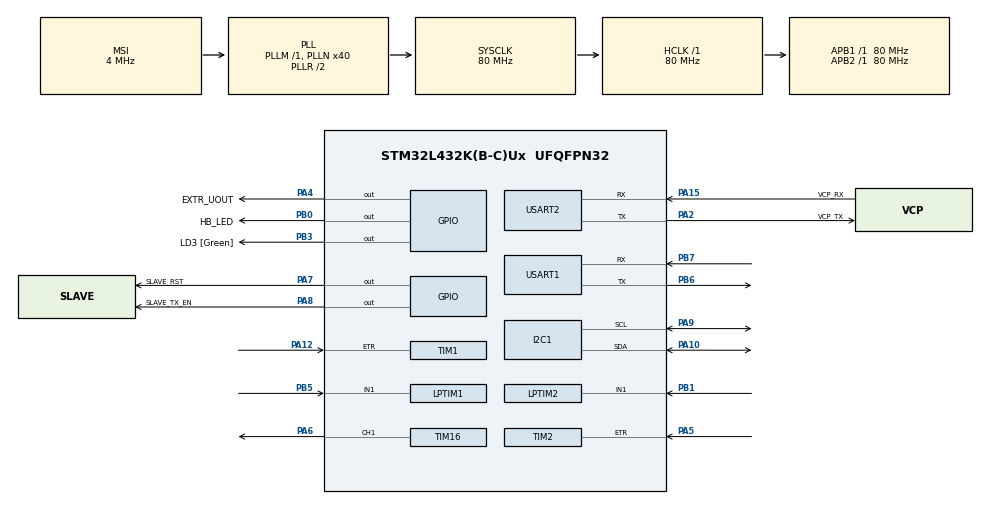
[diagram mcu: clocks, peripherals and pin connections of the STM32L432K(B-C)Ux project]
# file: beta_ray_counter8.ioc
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Mcu.Family=STM32L4
TIM15.AutoReloadPreload=TIM_AUTORELOAD_PRELOAD_ENABLE
RCC.CortexFreq_Value=80000000
NVIC.DMA1_Channel5_IRQn=true\:0\:0\:false\:false\:true\:false\:true
NVIC.I2C1_EV_IRQn=true\:0\:0\:false\:false\:true\:true\:true
Dma.USART1_TX.1.MemInc=DMA_MINC_ENABLE
SH.S_TIM1_ETR.0=TIM1_ETR,ClockSourceETR_Mode2
VP_IWDG_VS_IWDG.Mode=IWDG_Activate
TIM15.ClockDivision=TIM_CLOCKDIVISION_DIV4
PA0.GPIO_Label=MCO [High speed clock in]
Dma.I2C1_TX.3.PeriphInc=DMA_PINC_DISABLE
PB0.GPIO_Label=HB_LED
PA15\ (JTDI).Signal=USART2_RX
Dma.I2C1_TX.3.Priority=DMA_PRIORITY_LOW
RCC.SYSCLKSource=RCC_SYSCLKSOURCE_PLLCLK
ProjectManager.StackSize=0x400
PB3\ (JTDO-TRACESWO).Signal=GPIO_Output
PA14\ (JTCK-SWCLK).Signal=SYS_JTCK-SWCLK
Dma.USART2_TX.2.PeriphDataAlignment=DMA_PDATAALIGN_BYTE
PA15\ (JTDI).Mode=Asynchronous
PA12.Signal=S_TIM1_ETR
TIM15.Prescaler=20-1
RCC.HCLKFreq_Value=80000000
RCC.APB2TimFreq_Value=80000000
PB6.Signal=USART1_TX
PB6.Mode=Asynchronous
RCC.AHBFreq_Value=80000000
Dma.USART1_RX.0.Priority=DMA_PRIORITY_LOW
RCC.HSE_VALUE=8000000
Dma.USART2_TX.2.Priority=DMA_PRIORITY_LOW
USART2.VirtualMode-Asynchronous=VM_ASYNC
RCC.PLLMUL=RCC_PLLMUL_4
Dma.I2C1_TX.3.MemDataAlignment=DMA_MDATAALIGN_BYTE
Dma.I2C1_TX.3.MemInc=DMA_MINC_ENABLE
Dma.USART2_TX.2.MemDataAlignment=DMA_MDATAALIGN_BYTE
PB5.Mode=Counts_external_clock_with_synchro_01_occur1
PA0.Mode=HSE-External-Clock-Source-for-LittleOrca
Dma.I2C1_TX.3.Direction=DMA_MEMORY_TO_PERIPH
PB7.Signal=USART1_RX
PA8.Signal=GPIO_Output
Dma.USART1_RX.0.MemInc=DMA_MINC_ENABLE
NVIC.I2C1_ER_IRQn=true\:0\:0\:false\:false\:true\:true\:true
TIM16.Pulse=5
Dma.USART1_TX.1.PeriphDataAlignment=DMA_PDATAALIGN_BYTE
PA0.Signal=RCC_CK_IN
Mcu.Package=UFQFPN32
PB1.Signal=LPTIM2_IN1
PA6.Signal=S_TIM16_CH1
PA2.GPIO_Label=VCP_TX
PA10.Signal=I2C1_SDA
Dma.Request2=USART2_TX
TIM16.AutoReloadPreload=TIM_AUTORELOAD_PRELOAD_ENABLE
Dma.Request1=USART1_TX
RCC.APB1TimFreq_Value=80000000
Dma.Request3=I2C1_TX
Dma.USART1_RX.0.Mode=DMA_CIRCULAR
Dma.USART1_TX.1.Priority=DMA_PRIORITY_LOW
NVIC.DMA1_Channel4_IRQn=true\:0\:0\:false\:false\:true\:false\:true
PA6.GPIO_Speed=GPIO_SPEED_FREQ_HIGH
PA13\ (JTMS-SWDIO).Signal=SYS_JTMS-SWDIO
NVIC.USART1_IRQn=true\:0\:0\:false\:false\:true\:true\:true
Dma.Request0=USART1_RX
PA4.GPIO_Label=EXTR_UOUT
Dma.USART1_RX.0.Instance=DMA1_Channel5
RCC.HSI48_VALUE=48000000
Dma.USART1_TX.1.Direction=DMA_MEMORY_TO_PERIPH
RCC.MSI_VALUE=4000000
PA14\ (JTCK-SWCLK).Mode=Serial_Wire
NVIC.DMA1_Channel6_IRQn=true\:0\:0\:false\:false\:true\:false\:true
Dma.USART1_TX.1.Instance=DMA1_Channel4
Dma.USART2_TX.2.PeriphInc=DMA_PINC_DISABLE
Dma.USART1_RX.0.PeriphDataAlignment=DMA_PDATAALIGN_BYTE
PA10.Mode=I2C
Dma.USART2_TX.2.MemInc=DMA_MINC_ENABLE
SH.S_TIM16_CH1.0=TIM16_CH1,PWM Generation1 CH1
PC15-OSC32_OUT\ (PC15).Signal=RCC_OSC32_OUT
VP_TIM16_VS_ClockSourceINT.Mode=Enable_Timer
PA14\ (JTCK-SWCLK).GPIO_Label=SWCLK
PB3\ (JTDO-TRACESWO).GPIO_Label=LD3 [Green]
NVIC.USART2_IRQn=true\:0\:0\:false\:false\:true\:true\:true
TIM16.Channel=TIM_CHANNEL_1
USART1.VirtualMode-Asynchronous=VM_ASYNC
RCC.HSI16_VALUE=16000000
PA9.Mode=I2C
PA8.GPIO_Label=SLAVE_TX_EN
ProjectManager.TargetToolchain=STM32CubeIDE
Dma.USART1_RX.0.Direction=DMA_PERIPH_TO_MEMORY
PA9.Signal=I2C1_SCL
I2C1.Timing=0x10909CEC
RCC.USBFreq_Value=16000000
RCC.LSE_VALUE=32768
Dma.I2C1_TX.3.PeriphDataAlignment=DMA_PDATAALIGN_BYTE
Dma.USART1_RX.0.PeriphInc=DMA_PINC_DISABLE
PA5.Signal=S_TIM2_ETR
Dma.USART1_TX.1.MemDataAlignment=DMA_MDATAALIGN_BYTE
board=NUCLEO-L432KC
RCC.VCOOutputFreq_Value=160000000
TIM16.Period=9
RCC.APB2Freq_Value=80000000
PA13\ (JTMS-SWDIO).GPIO_Label=SWDIO
RCC.ADCFreq_Value=16000000
Dma.USART1_RX.0.MemDataAlignment=DMA_MDATAALIGN_BYTE
PA15\ (JTDI).GPIO_Label=VCP_RX
Mcu.Name=STM32L432K(B-C)Ux
PA2.Signal=USART2_TX
Dma.USART2_TX.2.Mode=DMA_NORMAL
Dma.I2C1_TX.3.Instance=DMA1_Channel6
PA13\ (JTMS-SWDIO).Mode=Serial_Wire
PA4.Signal=GPIO_Output
RCC.SYSCLKFreq_VALUE=80000000
PB5.Signal=LPTIM1_IN1
PA7.GPIO_Label=SLAVE_RST
SH.S_TIM2_ETR.0=TIM2_ETR,ClockSourceETR_Mode2
Dma.USART2_TX.2.Instance=DMA1_Channel7
PC14-OSC32_IN\ (PC14).Signal=RCC_OSC32_IN
Dma.USART1_TX.1.Mode=DMA_NORMAL
PB7.Mode=Asynchronous
VP_TIM15_VS_ClockSourceINT.Mode=Internal
ProjectManager.HeapSize=0x200
Dma.USART1_TX.1.PeriphInc=DMA_PINC_DISABLE
PB1.Mode=Counts_external_clock_with_synchro_01_occur1
RCC.HSI_VALUE=16000000
Dma.USART2_TX.2.Direction=DMA_MEMORY_TO_PERIPH
NVIC.PriorityGroup=NVIC_PRIORITYGROUP_4
RCC.PLLN=40
PA2.Mode=Asynchronous
NVIC.DMA1_Channel7_IRQn=true\:0\:0\:false\:false\:true\:false\:true
RCC.APB1Freq_Value=80000000
PB0.Signal=GPIO_Output
Dma.I2C1_TX.3.Mode=DMA_NORMAL
PA7.Signal=GPIO_Output

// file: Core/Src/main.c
/* USER CODE BEGIN Header */
/**
  ******************************************************************************
  * @file           : main.c
  * @brief          : Main program body
  ******************************************************************************
  * @attention
  *
  * <h2><center>&copy; Copyright (c) 2024 STMicroelectronics.
  * All rights reserved.</center></h2>
  *
  * This software component is licensed by ST under BSD 3-Clause license,
  * the "License"; You may not use this file except in compliance with the
  * License. You may obtain a copy of the License at:
  *                        opensource.org/licenses/BSD-3-Clause
  *
  ******************************************************************************
  */
/* USER CODE END Header */
#include "main.h"

/* USER CODE BEGIN Includes */
#include "i2c_clcd.h"
/* USER CODE END Includes */

I2C_HandleTypeDef hi2c1;
DMA_HandleTypeDef hdma_i2c1_tx;

IWDG_HandleTypeDef hiwdg;

LPTIM_HandleTypeDef hlptim1;
LPTIM_HandleTypeDef hlptim2;

TIM_HandleTypeDef htim1;
TIM_HandleTypeDef htim2;
TIM_HandleTypeDef htim15;
TIM_HandleTypeDef htim16;

UART_HandleTypeDef huart1;
UART_HandleTypeDef huart2;
DMA_HandleTypeDef hdma_usart1_rx;
DMA_HandleTypeDef hdma_usart1_tx;
DMA_HandleTypeDef hdma_usart2_tx;

void SystemClock_Config(void);
static void MX_GPIO_Init(void);
static void MX_DMA_Init(void);
static void MX_USART2_UART_Init(void);
static void MX_I2C1_Init(void);
static void MX_LPTIM1_Init(void);
static void MX_LPTIM2_Init(void);
static void MX_TIM1_Init(void);
static void MX_TIM2_Init(void);
static void MX_USART1_UART_Init(void);
static void MX_TIM15_Init(void);
static void MX_IWDG_Init(void);
static void MX_TIM16_Init(void);

/* USER CODE BEGIN 0 */
#include "jcnet.h"

__IO char uart1_rx_buf[UART1_DMA_BUF_SZ];
__IO char uart2_rx_buf[1];
system_type sys_info = {
		.cnt_type = CNT_TYPE_W,
		.dis_format = D_FMT_DEC,
		.update_period_tick = COUNTER_UPDATE_DFT_PERIOD
};

void MY_IWDG_Init()
{
	MX_IWDG_Init();
}

__IO g_dma_tx_flag = 0;
void (*g_dbg_print)(char*) = (void (*)(char*))NULL;
void DBG_puts(char *s)
{
#ifdef USART2_DMA
//	while(huart2.hdmatx->Instance->CNDTR);
	while(g_dma_tx_flag); g_dma_tx_flag = 1;
    HAL_UART_Transmit_DMA(&huart2,(uint8_t *)s, strlen(s));
// info_printf has static buffer	while(huart2.hdmatx->Instance->CNDTR);
#else
    HAL_UART_Transmit(&huart2,(uint8_t *)s, strlen(s), 1000);
#endif
}

/* USER CODE END 0 */

int main(void)
{

  /* MCU Configuration--------------------------------------------------------*/

  /* Reset of all peripherals, Initializes the Flash interface and the Systick. */
  HAL_Init();

  /* Configure the system clock */
  SystemClock_Config();

  /* Initialize all configured peripherals */
  MX_GPIO_Init();
  MX_DMA_Init();
  MX_USART2_UART_Init();
  MX_I2C1_Init();
  MX_LPTIM1_Init();
  MX_LPTIM2_Init();
  MX_TIM1_Init();
  MX_TIM2_Init();
  MX_USART1_UART_Init();
  MX_TIM15_Init();
  MX_IWDG_Init();
  MX_TIM16_Init();
  /* USER CODE BEGIN 2 */
#ifdef MASTER_MODE
  HAL_TIM_Base_Start(&htim16);
  HAL_TIM_PWM_Start(&htim16, TIM_CHANNEL_1);
  htim16.Instance->CCR1 = 5;
#endif
  HAL_TIM_Base_Start(&htim1);
  HAL_TIM_Base_Start(&htim2);
  HAL_TIM_Base_Start(&htim15);

  HAL_LPTIM_Counter_Start(&hlptim1,0xffff);
  HAL_LPTIM_Counter_Start(&hlptim2,0xffff);
  HAL_UART_Receive_IT(&huart2, uart2_rx_buf, 1);
  HAL_UART_Receive_DMA(&huart1,uart1_rx_buf,UART1_DMA_BUF_SZ);

  info_printf("Hi~. ray counter 8 channel f/w\n");
  i2c_lcd_init();
  i2c_lcd_string(0, 0," [BETA RAY CNT] ");
  i2c_lcd_string(1, 0," by JCNET v1.0 ");
  {
	  system_type tmp;
	  int res;
	  res = param_get((uint32_t *)&tmp);
	  if(res)
	  {
		  info_printf("param invalid..to default\n");
		  param_set(*(uint32_t *)&sys_info);
	  }
	  else
	  {
		  memcpy(&sys_info,&tmp,sizeof(tmp));
	  }
	  info_printf("CNT=%s\nFMT=%s\nPERIOD=%dmS\n",
			  (sys_info.cnt_type == CNT_TYPE_W)?"WINDOW":"OUT",
			  (sys_info.dis_format == D_FMT_DEC)?"DEC":"HEX",
					  sys_info.update_period_tick);

  }
  g_dbg_print = DBG_puts;

  /* USER CODE END 2 */

  /* Infinite loop */
  while (1)
  {

    /* USER CODE BEGIN 3 */
	  extern void my_loop();
	  while(0)
	  {
		  DBG_puts("123456789012345678901234567890\n"); HAL_Delay(10);
		  DBG_puts("abcdefghijklmnopqrstuvwxyzabcd\n"); HAL_Delay(10);
	  }
	  my_loop();
  }
  /* USER CODE END 3 */
}

void SystemClock_Config(void)
{
  RCC_OscInitTypeDef RCC_OscInitStruct = {0};
  RCC_ClkInitTypeDef RCC_ClkInitStruct = {0};
  RCC_PeriphCLKInitTypeDef PeriphClkInit = {0};

  /** Initializes the RCC Oscillators according to the specified parameters
  * in the RCC_OscInitTypeDef structure.
  */
  RCC_OscInitStruct.OscillatorType = RCC_OSCILLATORTYPE_LSI|RCC_OSCILLATORTYPE_MSI;
  RCC_OscInitStruct.LSIState = RCC_LSI_ON;
  RCC_OscInitStruct.MSIState = RCC_MSI_ON;
  RCC_OscInitStruct.MSICalibrationValue = 0;
  RCC_OscInitStruct.MSIClockRange = RCC_MSIRANGE_6;
  RCC_OscInitStruct.PLL.PLLState = RCC_PLL_ON;
  RCC_OscInitStruct.PLL.PLLSource = RCC_PLLSOURCE_MSI;
  RCC_OscInitStruct.PLL.PLLM = 1;
  RCC_OscInitStruct.PLL.PLLN = 40;
  RCC_OscInitStruct.PLL.PLLP = RCC_PLLP_DIV7;
  RCC_OscInitStruct.PLL.PLLQ = RCC_PLLQ_DIV2;
  RCC_OscInitStruct.PLL.PLLR = RCC_PLLR_DIV2;
  if (HAL_RCC_OscConfig(&RCC_OscInitStruct) != HAL_OK)
  {
    Error_Handler();
  }
  /** Initializes the CPU, AHB and APB buses clocks
  */
  RCC_ClkInitStruct.ClockType = RCC_CLOCKTYPE_HCLK|RCC_CLOCKTYPE_SYSCLK
                              |RCC_CLOCKTYPE_PCLK1|RCC_CLOCKTYPE_PCLK2;
  RCC_ClkInitStruct.SYSCLKSource = RCC_SYSCLKSOURCE_PLLCLK;
  RCC_ClkInitStruct.AHBCLKDivider = RCC_SYSCLK_DIV1;
  RCC_ClkInitStruct.APB1CLKDivider = RCC_HCLK_DIV1;
  RCC_ClkInitStruct.APB2CLKDivider = RCC_HCLK_DIV1;

  if (HAL_RCC_ClockConfig(&RCC_ClkInitStruct, FLASH_LATENCY_4) != HAL_OK)
  {
    Error_Handler();
  }
  PeriphClkInit.PeriphClockSelection = RCC_PERIPHCLK_USART1|RCC_PERIPHCLK_USART2
                              |RCC_PERIPHCLK_LPTIM1|RCC_PERIPHCLK_LPTIM2
                              |RCC_PERIPHCLK_I2C1;
  PeriphClkInit.Usart1ClockSelection = RCC_USART1CLKSOURCE_PCLK2;
  PeriphClkInit.Usart2ClockSelection = RCC_USART2CLKSOURCE_PCLK1;
  PeriphClkInit.I2c1ClockSelection = RCC_I2C1CLKSOURCE_PCLK1;
  PeriphClkInit.Lptim1ClockSelection = RCC_LPTIM1CLKSOURCE_PCLK;
  PeriphClkInit.Lptim2ClockSelection = RCC_LPTIM2CLKSOURCE_PCLK;
  if (HAL_RCCEx_PeriphCLKConfig(&PeriphClkInit) != HAL_OK)
  {
    Error_Handler();
  }
  /** Configure the main internal regulator output voltage
  */
  if (HAL_PWREx_ControlVoltageScaling(PWR_REGULATOR_VOLTAGE_SCALE1) != HAL_OK)
  {
    Error_Handler();
  }
}

static void MX_I2C1_Init(void)
{

  hi2c1.Instance = I2C1;
  hi2c1.Init.Timing = 0x10909CEC;
  hi2c1.Init.OwnAddress1 = 0;
  hi2c1.Init.AddressingMode = I2C_ADDRESSINGMODE_7BIT;
  hi2c1.Init.DualAddressMode = I2C_DUALADDRESS_DISABLE;
  hi2c1.Init.OwnAddress2 = 0;
  hi2c1.Init.OwnAddress2Masks = I2C_OA2_NOMASK;
  hi2c1.Init.GeneralCallMode = I2C_GENERALCALL_DISABLE;
  hi2c1.Init.NoStretchMode = I2C_NOSTRETCH_DISABLE;
  if (HAL_I2C_Init(&hi2c1) != HAL_OK)
  {
    Error_Handler();
  }
  /** Configure Analogue filter
  */
  if (HAL_I2CEx_ConfigAnalogFilter(&hi2c1, I2C_ANALOGFILTER_ENABLE) != HAL_OK)
  {
    Error_Handler();
  }
  /** Configure Digital filter
  */
  if (HAL_I2CEx_ConfigDigitalFilter(&hi2c1, 0) != HAL_OK)
  {
    Error_Handler();
  }

}

static void MX_IWDG_Init(void)
{

  hiwdg.Instance = IWDG;
  hiwdg.Init.Prescaler = IWDG_PRESCALER_4;
  hiwdg.Init.Window = 4095;
  hiwdg.Init.Reload = 4095;
  if (HAL_IWDG_Init(&hiwdg) != HAL_OK)
  {
    Error_Handler();
  }

}

static void MX_LPTIM1_Init(void)
{

  hlptim1.Instance = LPTIM1;
  hlptim1.Init.Clock.Source = LPTIM_CLOCKSOURCE_APBCLOCK_LPOSC;
  hlptim1.Init.Clock.Prescaler = LPTIM_PRESCALER_DIV1;
  hlptim1.Init.UltraLowPowerClock.Polarity = LPTIM_CLOCKPOLARITY_RISING;
  hlptim1.Init.UltraLowPowerClock.SampleTime = LPTIM_CLOCKSAMPLETIME_DIRECTTRANSITION;
  hlptim1.Init.Trigger.Source = LPTIM_TRIGSOURCE_SOFTWARE;
  hlptim1.Init.OutputPolarity = LPTIM_OUTPUTPOLARITY_HIGH;
  hlptim1.Init.UpdateMode = LPTIM_UPDATE_IMMEDIATE;
  hlptim1.Init.CounterSource = LPTIM_COUNTERSOURCE_EXTERNAL;
  hlptim1.Init.Input1Source = LPTIM_INPUT1SOURCE_GPIO;
  hlptim1.Init.Input2Source = LPTIM_INPUT2SOURCE_GPIO;
  if (HAL_LPTIM_Init(&hlptim1) != HAL_OK)
  {
    Error_Handler();
  }

}

static void MX_LPTIM2_Init(void)
{

  hlptim2.Instance = LPTIM2;
  hlptim2.Init.Clock.Source = LPTIM_CLOCKSOURCE_APBCLOCK_LPOSC;
  hlptim2.Init.Clock.Prescaler = LPTIM_PRESCALER_DIV1;
  hlptim2.Init.UltraLowPowerClock.Polarity = LPTIM_CLOCKPOLARITY_RISING;
  hlptim2.Init.UltraLowPowerClock.SampleTime = LPTIM_CLOCKSAMPLETIME_DIRECTTRANSITION;
  hlptim2.Init.Trigger.Source = LPTIM_TRIGSOURCE_SOFTWARE;
  hlptim2.Init.OutputPolarity = LPTIM_OUTPUTPOLARITY_HIGH;
  hlptim2.Init.UpdateMode = LPTIM_UPDATE_IMMEDIATE;
  hlptim2.Init.CounterSource = LPTIM_COUNTERSOURCE_EXTERNAL;
  hlptim2.Init.Input1Source = LPTIM_INPUT1SOURCE_GPIO;
  hlptim2.Init.Input2Source = LPTIM_INPUT2SOURCE_GPIO;
  if (HAL_LPTIM_Init(&hlptim2) != HAL_OK)
  {
    Error_Handler();
  }

}

static void MX_TIM1_Init(void)
{

  TIM_ClockConfigTypeDef sClockSourceConfig = {0};
  TIM_MasterConfigTypeDef sMasterConfig = {0};

  htim1.Instance = TIM1;
  htim1.Init.Prescaler = 0;
  htim1.Init.CounterMode = TIM_COUNTERMODE_UP;
  htim1.Init.Period = 65535;
  htim1.Init.ClockDivision = TIM_CLOCKDIVISION_DIV1;
  htim1.Init.RepetitionCounter = 0;
  htim1.Init.AutoReloadPreload = TIM_AUTORELOAD_PRELOAD_DISABLE;
  if (HAL_TIM_Base_Init(&htim1) != HAL_OK)
  {
    Error_Handler();
  }
  sClockSourceConfig.ClockSource = TIM_CLOCKSOURCE_ETRMODE2;
  sClockSourceConfig.ClockPolarity = TIM_CLOCKPOLARITY_NONINVERTED;
  sClockSourceConfig.ClockPrescaler = TIM_CLOCKPRESCALER_DIV1;
  sClockSourceConfig.ClockFilter = 0;
  if (HAL_TIM_ConfigClockSource(&htim1, &sClockSourceConfig) != HAL_OK)
  {
    Error_Handler();
  }
  sMasterConfig.MasterOutputTrigger = TIM_TRGO_RESET;
  sMasterConfig.MasterOutputTrigger2 = TIM_TRGO2_RESET;
  sMasterConfig.MasterSlaveMode = TIM_MASTERSLAVEMODE_DISABLE;
  if (HAL_TIMEx_MasterConfigSynchronization(&htim1, &sMasterConfig) != HAL_OK)
  {
    Error_Handler();
  }

}

static void MX_TIM2_Init(void)
{

  TIM_ClockConfigTypeDef sClockSourceConfig = {0};
  TIM_MasterConfigTypeDef sMasterConfig = {0};

  htim2.Instance = TIM2;
  htim2.Init.Prescaler = 0;
  htim2.Init.CounterMode = TIM_COUNTERMODE_UP;
  htim2.Init.Period = 4294967295;
  htim2.Init.ClockDivision = TIM_CLOCKDIVISION_DIV1;
  htim2.Init.AutoReloadPreload = TIM_AUTORELOAD_PRELOAD_DISABLE;
  if (HAL_TIM_Base_Init(&htim2) != HAL_OK)
  {
    Error_Handler();
  }
  sClockSourceConfig.ClockSource = TIM_CLOCKSOURCE_ETRMODE2;
  sClockSourceConfig.ClockPolarity = TIM_CLOCKPOLARITY_NONINVERTED;
  sClockSourceConfig.ClockPrescaler = TIM_CLOCKPRESCALER_DIV1;
  sClockSourceConfig.ClockFilter = 0;
  if (HAL_TIM_ConfigClockSource(&htim2, &sClockSourceConfig) != HAL_OK)
  {
    Error_Handler();
  }
  sMasterConfig.MasterOutputTrigger = TIM_TRGO_RESET;
  sMasterConfig.MasterSlaveMode = TIM_MASTERSLAVEMODE_DISABLE;
  if (HAL_TIMEx_MasterConfigSynchronization(&htim2, &sMasterConfig) != HAL_OK)
  {
    Error_Handler();
  }

}

static void MX_TIM15_Init(void)
{

  TIM_ClockConfigTypeDef sClockSourceConfig = {0};
  TIM_MasterConfigTypeDef sMasterConfig = {0};

  htim15.Instance = TIM15;
  htim15.Init.Prescaler = 20-1;
  htim15.Init.CounterMode = TIM_COUNTERMODE_UP;
  htim15.Init.Period = 65535;
  htim15.Init.ClockDivision = TIM_CLOCKDIVISION_DIV4;
  htim15.Init.RepetitionCounter = 0;
  htim15.Init.AutoReloadPreload = TIM_AUTORELOAD_PRELOAD_ENABLE;
  if (HAL_TIM_Base_Init(&htim15) != HAL_OK)
  {
    Error_Handler();
  }
  sClockSourceConfig.ClockSource = TIM_CLOCKSOURCE_INTERNAL;
  if (HAL_TIM_ConfigClockSource(&htim15, &sClockSourceConfig) != HAL_OK)
  {
    Error_Handler();
  }
  sMasterConfig.MasterOutputTrigger = TIM_TRGO_RESET;
  sMasterConfig.MasterSlaveMode = TIM_MASTERSLAVEMODE_DISABLE;
  if (HAL_TIMEx_MasterConfigSynchronization(&htim15, &sMasterConfig) != HAL_OK)
  {
    Error_Handler();
  }

}

static void MX_TIM16_Init(void)
{

  TIM_OC_InitTypeDef sConfigOC = {0};
  TIM_BreakDeadTimeConfigTypeDef sBreakDeadTimeConfig = {0};

  htim16.Instance = TIM16;
  htim16.Init.Prescaler = 0;
  htim16.Init.CounterMode = TIM_COUNTERMODE_UP;
  htim16.Init.Period = 9;
  htim16.Init.ClockDivision = TIM_CLOCKDIVISION_DIV1;
  htim16.Init.RepetitionCounter = 0;
  htim16.Init.AutoReloadPreload = TIM_AUTORELOAD_PRELOAD_ENABLE;
  if (HAL_TIM_Base_Init(&htim16) != HAL_OK)
  {
    Error_Handler();
  }
  if (HAL_TIM_PWM_Init(&htim16) != HAL_OK)
  {
    Error_Handler();
  }
  sConfigOC.OCMode = TIM_OCMODE_PWM1;
  sConfigOC.Pulse = 5;
  sConfigOC.OCPolarity = TIM_OCPOLARITY_HIGH;
  sConfigOC.OCNPolarity = TIM_OCNPOLARITY_HIGH;
  sConfigOC.OCFastMode = TIM_OCFAST_DISABLE;
  sConfigOC.OCIdleState = TIM_OCIDLESTATE_RESET;
  sConfigOC.OCNIdleState = TIM_OCNIDLESTATE_RESET;
  if (HAL_TIM_PWM_ConfigChannel(&htim16, &sConfigOC, TIM_CHANNEL_1) != HAL_OK)
  {
    Error_Handler();
  }
  sBreakDeadTimeConfig.OffStateRunMode = TIM_OSSR_DISABLE;
  sBreakDeadTimeConfig.OffStateIDLEMode = TIM_OSSI_DISABLE;
  sBreakDeadTimeConfig.LockLevel = TIM_LOCKLEVEL_OFF;
  sBreakDeadTimeConfig.DeadTime = 0;
  sBreakDeadTimeConfig.BreakState = TIM_BREAK_DISABLE;
  sBreakDeadTimeConfig.BreakPolarity = TIM_BREAKPOLARITY_HIGH;
  sBreakDeadTimeConfig.AutomaticOutput = TIM_AUTOMATICOUTPUT_DISABLE;
  if (HAL_TIMEx_ConfigBreakDeadTime(&htim16, &sBreakDeadTimeConfig) != HAL_OK)
  {
    Error_Handler();
  }
  HAL_TIM_MspPostInit(&htim16);

}

static void MX_USART1_UART_Init(void)
{

  huart1.Instance = USART1;
  huart1.Init.BaudRate = 115200;
  huart1.Init.WordLength = UART_WORDLENGTH_8B;
  huart1.Init.StopBits = UART_STOPBITS_1;
  huart1.Init.Parity = UART_PARITY_NONE;
  huart1.Init.Mode = UART_MODE_TX_RX;
  huart1.Init.HwFlowCtl = UART_HWCONTROL_NONE;
  huart1.Init.OverSampling = UART_OVERSAMPLING_16;
  huart1.Init.OneBitSampling = UART_ONE_BIT_SAMPLE_DISABLE;
  huart1.AdvancedInit.AdvFeatureInit = UART_ADVFEATURE_NO_INIT;
  if (HAL_UART_Init(&huart1) != HAL_OK)
  {
    Error_Handler();
  }

}

static void MX_USART2_UART_Init(void)
{

  huart2.Instance = USART2;
  huart2.Init.BaudRate = 115200;
  huart2.Init.WordLength = UART_WORDLENGTH_8B;
  huart2.Init.StopBits = UART_STOPBITS_1;
  huart2.Init.Parity = UART_PARITY_NONE;
  huart2.Init.Mode = UART_MODE_TX_RX;
  huart2.Init.HwFlowCtl = UART_HWCONTROL_NONE;
  huart2.Init.OverSampling = UART_OVERSAMPLING_16;
  huart2.Init.OneBitSampling = UART_ONE_BIT_SAMPLE_DISABLE;
  huart2.AdvancedInit.AdvFeatureInit = UART_ADVFEATURE_NO_INIT;
  if (HAL_UART_Init(&huart2) != HAL_OK)
  {
    Error_Handler();
  }

}

static void MX_DMA_Init(void)
{

  /* DMA controller clock enable */
  __HAL_RCC_DMA1_CLK_ENABLE();

  /* DMA interrupt init */
  /* DMA1_Channel4_IRQn interrupt configuration */
  HAL_NVIC_SetPriority(DMA1_Channel4_IRQn, 0, 0);
  HAL_NVIC_EnableIRQ(DMA1_Channel4_IRQn);
  /* DMA1_Channel5_IRQn interrupt configuration */
  HAL_NVIC_SetPriority(DMA1_Channel5_IRQn, 0, 0);
  HAL_NVIC_EnableIRQ(DMA1_Channel5_IRQn);
  /* DMA1_Channel6_IRQn interrupt configuration */
  HAL_NVIC_SetPriority(DMA1_Channel6_IRQn, 0, 0);
  HAL_NVIC_EnableIRQ(DMA1_Channel6_IRQn);
  /* DMA1_Channel7_IRQn interrupt configuration */
  HAL_NVIC_SetPriority(DMA1_Channel7_IRQn, 0, 0);
  HAL_NVIC_EnableIRQ(DMA1_Channel7_IRQn);

}

static void MX_GPIO_Init(void)
{
  GPIO_InitTypeDef GPIO_InitStruct = {0};

  /* GPIO Ports Clock Enable */
  __HAL_RCC_GPIOC_CLK_ENABLE();
  __HAL_RCC_GPIOA_CLK_ENABLE();
  __HAL_RCC_GPIOB_CLK_ENABLE();

  /*Configure GPIO pin Output Level */
  HAL_GPIO_WritePin(GPIOA, EXTR_UOUT_Pin|SLAVE_RST_Pin|SLAVE_TX_EN_Pin, GPIO_PIN_RESET);

  /*Configure GPIO pin Output Level */
  HAL_GPIO_WritePin(GPIOB, HB_LED_Pin|LD3_Pin, GPIO_PIN_RESET);

  /*Configure GPIO pins : EXTR_UOUT_Pin SLAVE_RST_Pin SLAVE_TX_EN_Pin */
  GPIO_InitStruct.Pin = EXTR_UOUT_Pin|SLAVE_RST_Pin|SLAVE_TX_EN_Pin;
  GPIO_InitStruct.Mode = GPIO_MODE_OUTPUT_PP;
  GPIO_InitStruct.Pull = GPIO_NOPULL;
  GPIO_InitStruct.Speed = GPIO_SPEED_FREQ_LOW;
  HAL_GPIO_Init(GPIOA, &GPIO_InitStruct);

  /*Configure GPIO pins : HB_LED_Pin LD3_Pin */
  GPIO_InitStruct.Pin = HB_LED_Pin|LD3_Pin;
  GPIO_InitStruct.Mode = GPIO_MODE_OUTPUT_PP;
  GPIO_InitStruct.Pull = GPIO_NOPULL;
  GPIO_InitStruct.Speed = GPIO_SPEED_FREQ_LOW;
  HAL_GPIO_Init(GPIOB, &GPIO_InitStruct);

}

/* USER CODE BEGIN 4 */
void JCNET_USART1_UART_Init(void)
{
	MX_USART1_UART_Init();
}

void JCNET_USART2_UART_Init(void)
{
	MX_USART2_UART_Init();
}
/* USER CODE END 4 */

void Error_Handler(void)
{
  __disable_irq();
  while (1)
  {
  }
}

/************************ (C) COPYRIGHT STMicroelectronics *****END OF FILE****/
